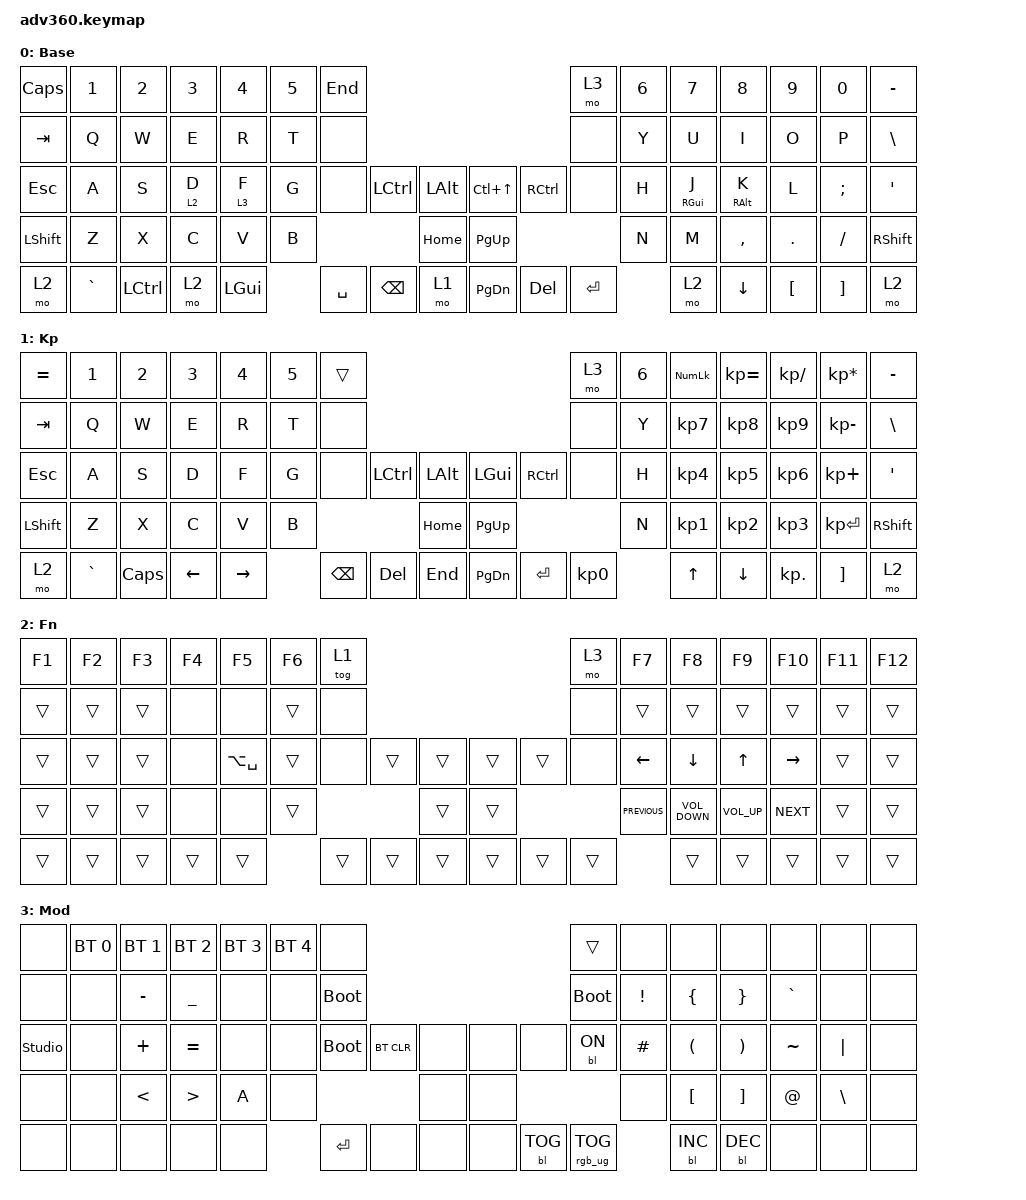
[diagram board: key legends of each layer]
#include <dt-bindings/zmk/stp.h>
#include <behaviors.dtsi>
#include <dt-bindings/zmk/backlight.h>
#include <dt-bindings/zmk/bt.h>
#include <dt-bindings/zmk/keys.h>
#include <dt-bindings/zmk/rgb.h>

/ {
    behaviors {
        #include "macros.dtsi"
      #include "version.dtsi"

        hm: hm {
            compatible = "zmk,behavior-hold-tap";
            label = "HM";
            bindings = <&kp>, <&kp>;

            #binding-cells = <2>;
            tapping-term-ms = <400>;
            quick-tap-ms = <400>;
            require-prior-idle-ms = <400>;
            flavor = "tap-preferred";
        };
    };

    keymap {
        compatible = "zmk,keymap";

        default_layer {
            display-name = "Base";
            bindings = <
&kp CAPS   &kp N1     &kp N2            &kp N3   &kp N4        &kp N5  &kp END                                                              &mo 3      &kp N6  &kp N7           &kp N8           &kp N9    &kp N0    &kp MINUS
&kp TAB    &kp Q      &kp W             &kp E    &kp R         &kp T   &none                                                                &none      &kp Y   &kp U            &kp I            &kp O     &kp P     &kp BSLH
&kp ESC    &kp A      &kp S             &lt 2 D  &lt 3 F       &kp G   &none      &kp LCTRL      &kp LALT      &kp LC(UP_ARROW)  &kp RCTRL  &none      &kp H   &hm RIGHT_GUI J  &hm RIGHT_ALT K  &kp L     &kp SEMI  &kp SQT
&kp LSHFT  &kp Z      &kp X             &kp C    &kp V         &kp B                             &kp HOME      &kp PG_UP                               &kp N   &kp M            &kp COMMA        &kp DOT   &kp FSLH  &kp RSHFT
&mo 2      &kp GRAVE  &kp LEFT_CONTROL  &mo 2    &kp LEFT_GUI          &kp SPACE  &kp BACKSPACE  &mo 1         &kp PG_DN         &kp DEL    &kp ENTER          &mo 2            &kp DOWN         &kp LBKT  &kp RBKT  &mo 2
            >;
        };

        keypad {
            display-name = "Kp";
            bindings = <
&kp EQUAL  &kp N1     &kp N2    &kp N3    &kp N4     &kp N5  &trans                                                   &mo 3      &kp N6  &kp KP_NUM  &kp KP_EQUAL  &kp KP_DIVIDE  &kp KP_MULTIPLY  &kp MINUS
&kp TAB    &kp Q      &kp W     &kp E     &kp R      &kp T   &none                                                    &none      &kp Y   &kp KP_N7   &kp KP_N8     &kp KP_N9      &kp KP_MINUS     &kp BSLH
&kp ESC    &kp A      &kp S     &kp D     &kp F      &kp G   &none     &kp LCTRL  &kp LALT      &kp LGUI   &kp RCTRL  &none      &kp H   &kp KP_N4   &kp KP_N5     &kp KP_N6      &kp KP_PLUS      &kp SQT
&kp LSHFT  &kp Z      &kp X     &kp C     &kp V      &kp B                        &kp HOME      &kp PG_UP                        &kp N   &kp KP_N1   &kp KP_N2     &kp KP_N3      &kp KP_ENTER     &kp RSHFT
&mo 2      &kp GRAVE  &kp CAPS  &kp LEFT  &kp RIGHT          &kp BSPC  &kp DEL    &kp END       &kp PG_DN  &kp ENTER  &kp KP_N0          &kp UP      &kp DOWN      &kp KP_DOT     &kp RBKT         &mo 2
            >;
        };

        fn {
            display-name = "Fn";
            bindings = <
&kp F1  &kp F2  &kp F3  &kp F4  &kp F5         &kp F6  &tog 1                                      &mo 3   &kp F7          &kp F8             &kp F9           &kp F10     &kp F11  &kp F12
&trans  &trans  &trans  &none   &none          &trans  &none                                       &none   &trans          &trans             &trans           &trans      &trans   &trans
&trans  &trans  &trans  &none   &kp LA(SPACE)  &trans  &none   &trans  &trans      &trans  &trans  &none   &kp LEFT_ARROW  &kp DOWN_ARROW     &kp UP_ARROW     &kp RIGHT   &trans   &trans
&trans  &trans  &trans  &none   &none          &trans                  &trans      &trans                  &kp C_PREVIOUS  &kp C_VOLUME_DOWN  &kp C_VOLUME_UP  &kp C_NEXT  &trans   &trans
&trans  &trans  &trans  &trans  &trans                 &trans  &trans  &trans      &trans  &trans  &trans                  &trans             &trans           &trans      &trans   &trans
            >;
        };

        mod {
            display-name = "Mod";
            bindings = <
&none           &bt BT_SEL 0  &bt BT_SEL 1   &bt BT_SEL 2      &bt BT_SEL 3  &bt BT_SEL 4  &none                                                  &trans           &none     &none                 &none                  &none      &none          &none
&none           &none         &kp MINUS      &kp UNDER         &none         &none         &bootloader                                            &bootloader      &kp EXCL  &kp LEFT_BRACE        &kp RIGHT_BRACE        &kp GRAVE  &none          &none
&studio_unlock  &none         &kp PLUS       &kp EQUAL         &none         &none         &bootloader  &bt BT_CLR  &none      &none  &none       &bl BL_ON        &kp HASH  &kp LEFT_PARENTHESIS  &kp RIGHT_PARENTHESIS  &kp TILDE  &kp PIPE       &none
&none           &none         &kp LESS_THAN  &kp GREATER_THAN  &kp A         &none                                  &none      &none                               &none     &kp LEFT_BRACKET      &kp RIGHT_BRACKET      &kp AT     &kp BACKSLASH  &none
&none           &none         &none          &none             &none                       &kp ENTER    &none       &none      &none  &bl BL_TOG  &rgb_ug RGB_TOG            &bl BL_INC            &bl BL_DEC             &none      &none          &none
            >;
        };

        extra1 {
            display-name = "Red";
            status = "reserved";
        };

        extra2 {
            display-name = "Purple";
            status = "reserved";
        };

        extra3 {
            display-name = "Cyan";
            status = "reserved";
        };

        extra4 {
            display-name = "Yellow";
            status = "reserved";
        };
    };
};
